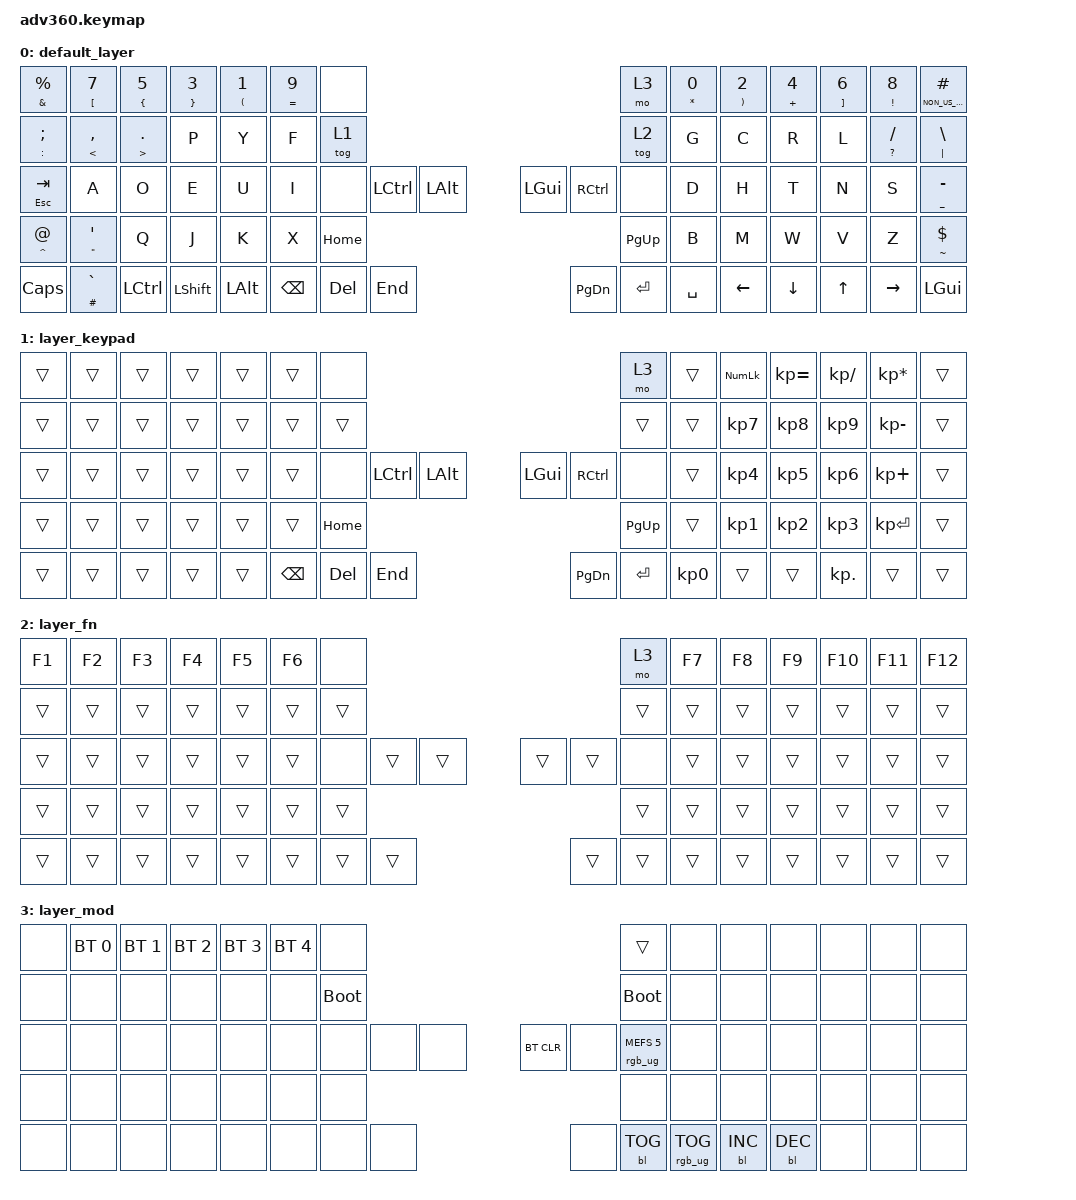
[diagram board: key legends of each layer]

/*
 * Copyright (c) 2020 The ZMK Contributors
 *
 * SPDX-License-Identifier: MIT
 */


/* THIS FILE WAS GENERATED!
 *
 * This file was generated automatically. You may or may not want to
 * edit it directly.
 */

#include <behaviors.dtsi>
#include <dt-bindings/zmk/keys.h>
#include <dt-bindings/zmk/bt.h>
#include <dt-bindings/zmk/rgb.h>
#include <dt-bindings/zmk/backlight.h>

/ {
  behaviors {
    #include "macros.dtsi"

    hm: homerow_mods {
        compatible = "zmk,behavior-hold-tap";
        label = "HOMEROW_MODS";
        #binding-cells = <2>;
        tapping-term-ms = <200>;
        quick_tap_ms = <175>;
        flavor = "tap-preferred";
        bindings = <&kp>, <&kp>;
    };
  };

    keymap {
        compatible = "zmk,keymap";


        default_layer {
            bindings = <
 &mt AMPS PERCENT             &mt LEFT_BRACKET N7        &mt LEFT_BRACE N5  &mt RIGHT_BRACE N3  &mt LEFT_PARENTHESIS N1  &mt EQUAL N9               &none                                                                 &mo 3  &mt STAR N0  &mt RIGHT_PARENTHESIS N2  &mt PLUS N4  &mt RIGHT_BRACKET N6         &mt EXCL N8  &mt NON_US_HASH POUND
   &mt COLON SEMI             &mt LESS_THAN COMMA  &mt GREATER_THAN PERIOD               &kp P                    &kp Y         &kp F              &tog 1                                                                &tog 2        &kp G                     &kp C        &kp R                 &kp L  &mt QUESTION SLASH     &mt PIPE BACKSLASH
      &mt ESC TAB                           &kp A                    &kp O               &kp E                    &kp U         &kp I               &none  &kp LCTRL  &kp LALT                   &kp LGUI  &kp RCTRL      &none        &kp D                     &kp H        &kp T                 &kp N               &kp S        &mt UNDER MINUS
     &mt CARET AT  &mt DOUBLE_QUOTES SINGLE_QUOTE                    &kp Q               &kp J                    &kp K         &kp X                                 &kp HOME                  &kp PG_UP                              &kp B                     &kp M        &kp W                 &kp V               &kp Z       &mt TILDE DOLLAR
     &kp CAPSLOCK                  &mt HASH GRAVE         &kp LEFT_CONTROL      &kp LEFT_SHIFT             &kp LEFT_ALT                          &kp BSPC    &kp DEL   &kp END                  &kp PG_DN  &kp ENTER  &kp SPACE                               &kp LEFT     &kp DOWN                &kp UP           &kp RIGHT           &kp LEFT_GUI
            >;
        };

        layer_keypad {
            bindings = <
 &trans  &trans  &trans  &trans  &trans  &trans               &none                                                                 &mo 3  &trans  &kp KP_NUM  &kp KP_EQUAL  &kp KP_DIVIDE  &kp KP_MULTIPLY  &trans
 &trans  &trans  &trans  &trans  &trans  &trans              &trans                                                                &trans  &trans   &kp KP_N7     &kp KP_N8      &kp KP_N9     &kp KP_MINUS  &trans
 &trans  &trans  &trans  &trans  &trans  &trans               &none  &kp LCTRL  &kp LALT                   &kp LGUI  &kp RCTRL      &none  &trans   &kp KP_N4     &kp KP_N5      &kp KP_N6      &kp KP_PLUS  &trans
 &trans  &trans  &trans  &trans  &trans  &trans                                 &kp HOME                  &kp PG_UP                        &trans   &kp KP_N1     &kp KP_N2      &kp KP_N3     &kp KP_ENTER  &trans
 &trans  &trans  &trans  &trans  &trans                    &kp BSPC    &kp DEL   &kp END                  &kp PG_DN  &kp ENTER  &kp KP_N0              &trans        &trans     &kp KP_DOT           &trans  &trans
            >;
        };

        layer_fn {
            bindings = <
 &kp F1  &kp F2  &kp F3  &kp F4  &kp F5  &kp F6             &none                                                   &mo 3  &kp F7  &kp F8  &kp F9  &kp F10  &kp F11  &kp F12
 &trans  &trans  &trans  &trans  &trans  &trans            &trans                                                  &trans  &trans  &trans  &trans   &trans   &trans   &trans
 &trans  &trans  &trans  &trans  &trans  &trans             &none  &trans  &trans                  &trans  &trans   &none  &trans  &trans  &trans   &trans   &trans   &trans
 &trans  &trans  &trans  &trans  &trans  &trans                            &trans                  &trans                  &trans  &trans  &trans   &trans   &trans   &trans
 &trans  &trans  &trans  &trans  &trans                    &trans  &trans  &trans                  &trans  &trans  &trans          &trans  &trans   &trans   &trans   &trans
            >;
        };

        layer_mod {
            bindings = <
  &none  &bt BT_SEL 0  &bt BT_SEL 1  &bt BT_SEL 2  &bt BT_SEL 3  &bt BT_SEL 4                  &none                                                                          &trans   &none       &none       &none   &none   &none   &none
  &none         &none         &none         &none         &none         &none            &bootloader                                                                     &bootloader   &none       &none       &none   &none   &none   &none
  &none         &none         &none         &none         &none         &none                  &none   &none   &none                  &bt BT_CLR       &none  &rgb_ug RGB_MEFS_CMD 5   &none       &none       &none   &none   &none   &none
  &none         &none         &none         &none         &none         &none                                  &none                       &none                                       &none       &none       &none   &none   &none   &none
  &none         &none         &none         &none         &none                                &none   &none   &none                       &none  &bl BL_TOG         &rgb_ug RGB_TOG          &bl BL_INC  &bl BL_DEC   &none   &none   &none
            >;
        };

    };
};
